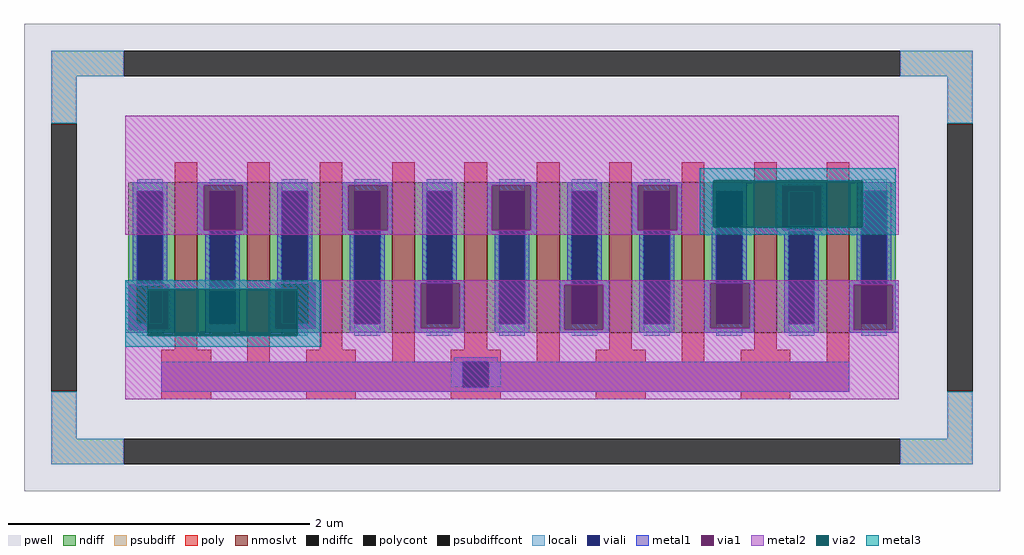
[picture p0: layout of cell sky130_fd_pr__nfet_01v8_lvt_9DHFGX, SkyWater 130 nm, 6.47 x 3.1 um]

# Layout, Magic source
magic
tech sky130A
<< pwell >>
rect -324 -155 323 155
<< nmoslvt >>
rect -224 -50 -209 50
rect -176 -50 -161 50
rect -128 -50 -113 50
rect -80 -50 -65 50
rect -32 -50 -17 50
rect 16 -50 31 50
rect 64 -50 79 50
rect 112 -50 127 50
rect 160 -50 175 50
rect 208 -50 223 50
<< ndiff >>
rect -255 44 -224 50
rect -255 -44 -249 44
rect -232 -44 -224 44
rect -255 -50 -224 -44
rect -209 44 -176 50
rect -209 -44 -201 44
rect -184 -44 -176 44
rect -209 -50 -176 -44
rect -161 44 -128 50
rect -161 -44 -153 44
rect -136 -44 -128 44
rect -161 -50 -128 -44
rect -113 44 -80 50
rect -113 -44 -105 44
rect -88 -44 -80 44
rect -113 -50 -80 -44
rect -65 44 -32 50
rect -65 -44 -57 44
rect -40 -44 -32 44
rect -65 -50 -32 -44
rect -17 44 16 50
rect -17 -44 -9 44
rect 8 -44 16 44
rect -17 -50 16 -44
rect 31 44 64 50
rect 31 -44 39 44
rect 56 -44 64 44
rect 31 -50 64 -44
rect 79 44 112 50
rect 79 -44 87 44
rect 104 -44 112 44
rect 79 -50 112 -44
rect 127 44 160 50
rect 127 -44 135 44
rect 152 -44 160 44
rect 127 -50 160 -44
rect 175 44 208 50
rect 175 -44 183 44
rect 200 -44 208 44
rect 175 -50 208 -44
rect 223 44 254 50
rect 223 -44 231 44
rect 248 -44 254 44
rect 223 -50 254 -44
<< ndiffc >>
rect -249 -44 -232 44
rect -201 -44 -184 44
rect -153 -44 -136 44
rect -105 -44 -88 44
rect -57 -44 -40 44
rect -9 -44 8 44
rect 39 -44 56 44
rect 87 -44 104 44
rect 135 -44 152 44
rect 183 -44 200 44
rect 231 -44 248 44
<< psubdiff >>
rect -306 120 -258 137
rect 257 120 305 137
rect -306 89 -289 120
rect 288 89 305 120
rect -306 -120 -289 -89
rect 288 -120 305 -89
rect -306 -137 -258 -120
rect 257 -137 305 -120
<< psubdiffcont >>
rect -258 120 257 137
rect -306 -89 -289 89
rect 288 -89 305 89
rect -258 -137 257 -120
<< poly >>
rect -224 50 -209 63
rect -176 50 -161 63
rect -128 50 -113 63
rect -80 50 -65 63
rect -32 50 -17 63
rect 16 50 31 63
rect 64 50 79 63
rect 112 50 127 63
rect 160 50 175 63
rect 208 50 223 63
rect -224 -61 -209 -50
rect -233 -69 -200 -61
rect -176 -69 -161 -50
rect -128 -61 -113 -50
rect -137 -69 -104 -61
rect -80 -69 -65 -50
rect -32 -61 -17 -50
rect -41 -69 -8 -61
rect 16 -69 31 -50
rect 64 -61 79 -50
rect 55 -69 88 -61
rect 112 -69 127 -50
rect 160 -61 175 -50
rect 151 -69 184 -61
rect 208 -69 223 -50
rect -233 -86 -33 -69
rect -16 -86 223 -69
rect -233 -89 223 -86
rect -233 -94 -200 -89
rect -137 -94 -104 -89
rect -41 -94 -8 -89
rect 55 -94 88 -89
rect 151 -94 184 -89
<< polycont >>
rect -33 -86 -16 -69
<< locali >>
rect -306 120 -258 137
rect 257 120 305 137
rect -306 89 -289 120
rect 288 89 305 120
rect -249 44 -232 52
rect -249 -52 -232 -44
rect -201 44 -184 52
rect -201 -52 -184 -44
rect -153 44 -136 52
rect -153 -52 -136 -44
rect -105 44 -88 52
rect -105 -52 -88 -44
rect -57 44 -40 52
rect -57 -52 -40 -44
rect -9 44 8 52
rect -9 -52 8 -44
rect 39 44 56 52
rect 39 -52 56 -44
rect 87 44 104 52
rect 87 -52 104 -44
rect 135 44 152 52
rect 135 -52 152 -44
rect 183 44 200 52
rect 183 -52 200 -44
rect 231 44 248 52
rect 231 -52 248 -44
rect -41 -86 -33 -69
rect -16 -86 -8 -69
rect -306 -120 -289 -89
rect 288 -120 305 -89
rect -306 -137 -258 -120
rect 257 -137 305 -120
<< viali >>
rect -249 -44 -232 44
rect -201 -44 -184 44
rect -153 -44 -136 44
rect -105 -44 -88 44
rect -57 -44 -40 44
rect -9 -44 8 44
rect 39 -44 56 44
rect 87 -44 104 44
rect 135 -44 152 44
rect 183 -44 200 44
rect 231 -44 248 44
rect -33 -86 -16 -69
<< metal1 >>
rect -252 44 -229 50
rect -252 -15 -249 44
rect -257 -18 -249 -15
rect -232 -15 -229 44
rect -209 48 -176 50
rect -209 18 -205 48
rect -179 18 -176 48
rect -209 15 -201 18
rect -232 -18 -224 -15
rect -257 -48 -254 -18
rect -228 -48 -224 -18
rect -257 -50 -224 -48
rect -204 -44 -201 15
rect -184 15 -176 18
rect -156 44 -133 50
rect -184 -44 -181 15
rect -156 -15 -153 44
rect -204 -50 -181 -44
rect -161 -17 -153 -15
rect -136 -15 -133 44
rect -113 48 -80 50
rect -113 18 -109 48
rect -83 18 -80 48
rect -113 15 -105 18
rect -136 -17 -128 -15
rect -161 -47 -157 -17
rect -131 -47 -128 -17
rect -161 -50 -128 -47
rect -108 -44 -105 15
rect -88 15 -80 18
rect -60 44 -37 50
rect -88 -44 -85 15
rect -60 -15 -57 44
rect -108 -50 -85 -44
rect -65 -17 -57 -15
rect -40 -15 -37 44
rect -17 48 16 50
rect -17 18 -14 48
rect 12 18 16 48
rect -17 15 -9 18
rect -40 -17 -32 -15
rect -65 -47 -61 -17
rect -35 -47 -32 -17
rect -65 -50 -32 -47
rect -12 -44 -9 15
rect 8 15 16 18
rect 36 44 59 50
rect 8 -44 11 15
rect 36 -15 39 44
rect -12 -50 11 -44
rect 31 -18 39 -15
rect 56 -15 59 44
rect 79 48 112 50
rect 79 18 83 48
rect 109 18 112 48
rect 79 15 87 18
rect 56 -18 64 -15
rect 31 -48 34 -18
rect 60 -48 64 -18
rect 31 -50 64 -48
rect 84 -44 87 15
rect 104 15 112 18
rect 132 44 155 50
rect 104 -44 107 15
rect 132 -15 135 44
rect 84 -50 107 -44
rect 127 -17 135 -15
rect 152 -15 155 44
rect 175 48 208 50
rect 175 18 179 48
rect 205 18 208 48
rect 175 15 183 18
rect 152 -17 160 -15
rect 127 -47 131 -17
rect 157 -47 160 -17
rect 127 -50 160 -47
rect 180 -44 183 15
rect 200 15 208 18
rect 228 44 251 50
rect 200 -44 203 15
rect 228 -15 231 44
rect 180 -50 203 -44
rect 223 -18 231 -15
rect 248 -15 251 44
rect 248 -18 256 -15
rect 223 -48 226 -18
rect 252 -48 256 -18
rect 223 -50 256 -48
rect -39 -69 -10 -66
rect -233 -86 -33 -69
rect -16 -86 223 -69
rect -233 -89 223 -86
<< via1 >>
rect -205 44 -179 48
rect -205 18 -201 44
rect -201 18 -184 44
rect -184 18 -179 44
rect -254 -44 -249 -18
rect -249 -44 -232 -18
rect -232 -44 -228 -18
rect -254 -48 -228 -44
rect -109 44 -83 48
rect -109 18 -105 44
rect -105 18 -88 44
rect -88 18 -83 44
rect -157 -44 -153 -17
rect -153 -44 -136 -17
rect -136 -44 -131 -17
rect -157 -47 -131 -44
rect -14 44 12 48
rect -14 18 -9 44
rect -9 18 8 44
rect 8 18 12 44
rect -61 -44 -57 -17
rect -57 -44 -40 -17
rect -40 -44 -35 -17
rect -61 -47 -35 -44
rect 83 44 109 48
rect 83 18 87 44
rect 87 18 104 44
rect 104 18 109 44
rect 34 -44 39 -18
rect 39 -44 56 -18
rect 56 -44 60 -18
rect 34 -48 60 -44
rect 179 44 205 48
rect 179 18 183 44
rect 183 18 200 44
rect 200 18 205 44
rect 131 -44 135 -17
rect 135 -44 152 -17
rect 152 -44 157 -17
rect 131 -47 157 -44
rect 226 -44 231 -18
rect 231 -44 248 -18
rect 248 -44 252 -18
rect 226 -48 252 -44
<< metal2 >>
rect -257 51 256 94
rect -257 48 133 51
rect -257 18 -205 48
rect -179 18 -109 48
rect -83 18 -14 48
rect 12 18 83 48
rect 109 20 133 48
rect 232 20 256 51
rect 109 18 179 20
rect 205 18 256 20
rect -257 15 256 18
rect -257 -17 256 -15
rect -257 -18 -157 -17
rect -257 -48 -254 -18
rect -228 -21 -157 -18
rect -131 -47 -61 -17
rect -35 -18 131 -17
rect -35 -47 34 -18
rect -143 -48 34 -47
rect 60 -47 131 -18
rect 157 -18 256 -17
rect 157 -47 226 -18
rect 60 -48 226 -47
rect 252 -48 256 -18
rect -257 -52 -242 -48
rect -143 -52 256 -48
rect -257 -94 256 -52
<< via2 >>
rect 133 48 232 51
rect 133 20 179 48
rect 179 20 205 48
rect 205 20 232 48
rect -242 -48 -228 -21
rect -228 -47 -157 -21
rect -157 -47 -143 -21
rect -228 -48 -143 -47
rect -242 -52 -143 -48
<< metal3 >>
rect 124 51 254 59
rect 124 20 133 51
rect 232 20 254 51
rect 124 15 254 20
rect -257 -21 -127 -15
rect -257 -52 -242 -21
rect -143 -52 -127 -21
rect -257 -59 -127 -52
<< properties >>
string FIXED_BBOX -297 -128 297 128
string gencell sky130_fd_pr__nfet_01v8_lvt
string library sky130
string parameters w 1.0 l 0.15 m 1 nf 10 diffcov 100 polycov 100 guard 1 glc 1 grc 1 gtc 1 gbc 1 tbcov 100 rlcov 100 topc 1 botc 1 poverlap 0 doverlap 1 lmin 0.15 wmin 0.42 compatible {sky130_fd_pr__nfet_01v8 sky130_fd_pr__nfet_01v8_lvt  sky130_fd_bs_flash__special_sonosfet_star  sky130_fd_pr__nfet_g5v0d10v5 sky130_fd_pr__nfet_05v0_nvt  sky130_fd_pr__nfet_03v3_nvt} full_metal 1 viasrc 100 viadrn 100 viagate 100 viagb 0 viagr 0 viagl 0 viagt 0
<< end >>
